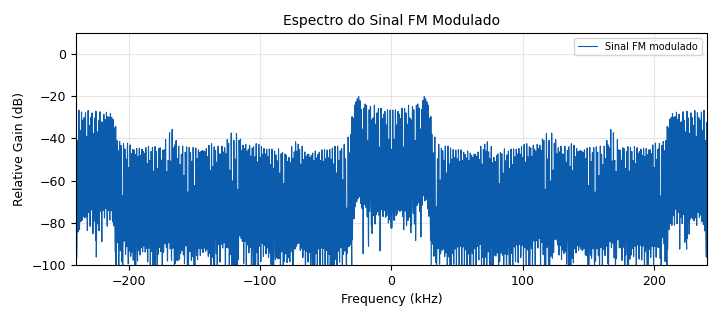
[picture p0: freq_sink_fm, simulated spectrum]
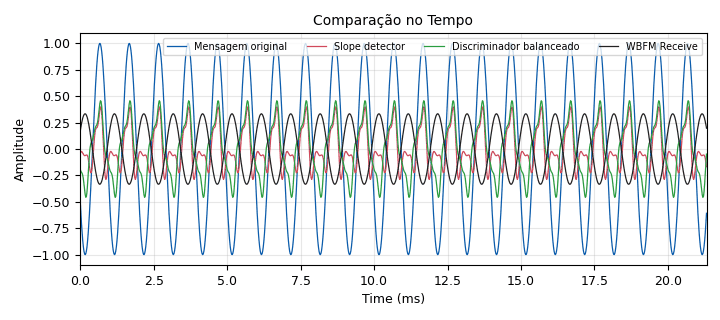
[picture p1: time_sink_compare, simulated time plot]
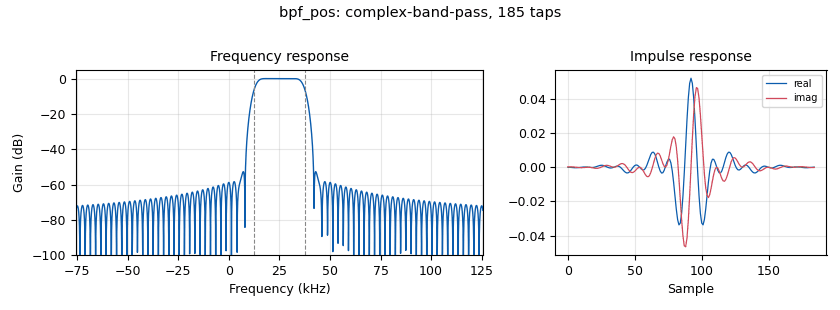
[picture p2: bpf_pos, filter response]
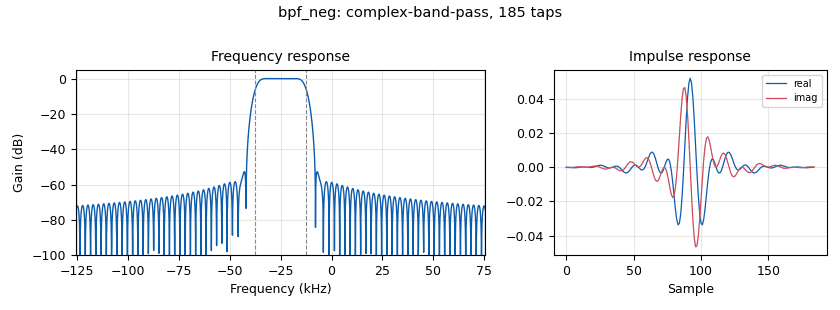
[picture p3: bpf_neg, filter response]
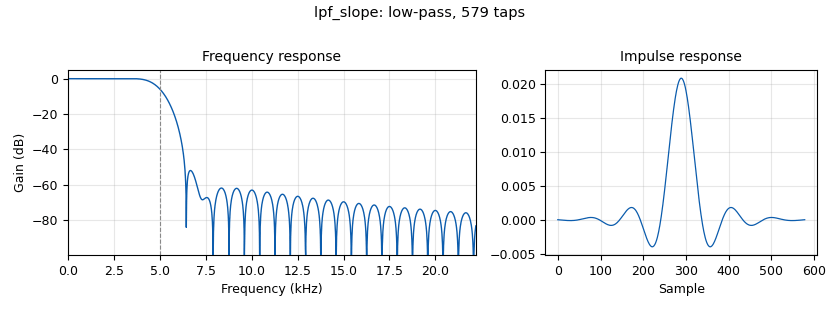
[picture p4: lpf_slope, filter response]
options:
  parameters:
    author: Prof. Daniel Costa Araújo
    description: Prática 05 - Parte II - Demodulação FM por Discriminação
    generate_options: qt_gui
    id: pratica_05_fm_parte2
    output_language: python
    title: Prática 05 - Parte II - Demodulação FM
  states: {}

blocks:
- name: samp_rate
  id: variable
  parameters:
    comment: Taxa de amostragem (quad_rate)
    value: '480000'
  states: {}
- name: audio_rate
  id: variable
  parameters:
    comment: Taxa de áudio
    value: '48000'
  states: {}
- name: fm_freq
  id: variable_qtgui_range
  parameters:
    comment: Frequência da mensagem
    gui_hint: 0,0,1,1
    label: Frequência mensagem fm (Hz)
    start: '200'
    step: '100'
    stop: '5000'
    value: '1000'
  states: {}
- name: max_dev
  id: variable_qtgui_range
  parameters:
    comment: Desvio máximo de frequência FM
    gui_hint: 0,1,1,1
    label: Desvio máximo (Hz)
    start: '5000'
    step: '1000'
    stop: '50000'
    value: '25000'
  states: {}
- name: noise_amp
  id: variable_qtgui_range
  parameters:
    comment: Amplitude do ruído
    gui_hint: 1,0,1,1
    label: Amplitude ruído
    start: '0'
    step: '0.01'
    stop: '0.5'
    value: '0'
  states: {}
- name: src_mensagem
  id: analog_sig_source_x
  parameters:
    amp: '1.0'
    comment: Sinal mensagem m(t)
    freq: fm_freq
    offset: '0'
    phase: '0'
    samp_rate: audio_rate
    type: float
    waveform: analog.GR_COS_WAVE
  states: {}
- name: src_noise
  id: analog_noise_source_x
  parameters:
    amp: noise_amp
    comment: Ruído gaussiano complexo
    noise_type: analog.GR_GAUSSIAN
    seed: '0'
    type: complex
  states: {}
- name: wbfm_tx
  id: analog_wfm_tx
  parameters:
    audio_rate: audio_rate
    comment: Modulador FM
    max_dev: max_dev
    quad_rate: samp_rate
    tau: '75e-6'
  states: {}
- name: throttle
  id: blocks_throttle2
  parameters:
    samples_per_second: samp_rate
    type: complex
  states: {}
- name: add_noise
  id: blocks_add_xx
  parameters:
    comment: Soma sinal FM + ruído
    type: complex
  states: {}
- name: wbfm_rx
  id: analog_wfm_rcv
  parameters:
    audio_decimation: int(samp_rate/audio_rate)
    comment: Demodulador de referência
    quad_rate: samp_rate
  states: {}
- name: bpf_pos
  id: band_pass_filter
  parameters:
    comment: Filtro passa-faixa em +Δf (slope)
    decim: '1'
    gain: '1'
    high_cutoff_freq: 3*max_dev/2
    low_cutoff_freq: max_dev/2
    samp_rate: samp_rate
    type: fir_filter_ccc
    width: max_dev/4
    win: window.WIN_HAMMING
  states: {}
- name: bpf_neg
  id: band_pass_filter
  parameters:
    comment: Filtro passa-faixa em -Δf (slope)
    decim: '1'
    gain: '1'
    high_cutoff_freq: '-max_dev/2'
    low_cutoff_freq: '-3*max_dev/2'
    samp_rate: samp_rate
    type: fir_filter_ccc
    width: max_dev/4
    win: window.WIN_HAMMING
  states: {}
- name: mag_pos
  id: blocks_complex_to_mag
  parameters:
    comment: Envoltória do ramo +Δf
  states: {}
- name: mag_neg
  id: blocks_complex_to_mag
  parameters:
    comment: Envoltória do ramo -Δf
  states: {}
- name: dc_blocker_slope
  id: dc_blocker_xx
  parameters:
    comment: Remove nível CC do slope
    length: '128'
    long_form: 'True'
    type: ff
  states: {}
- name: lpf_slope
  id: low_pass_filter
  parameters:
    comment: LPF de áudio + decimação
    cutoff_freq: '5000'
    decim: int(samp_rate/audio_rate)
    gain: '1'
    samp_rate: samp_rate
    type: fir_filter_fff
    width: '2000'
    win: window.WIN_HAMMING
  states: {}
- name: sub_balanced
  id: blocks_sub_xx
  parameters:
    comment: 'Subtração: mag_pos - mag_neg'
    type: float
  states: {}
- name: dc_blocker_bal
  id: dc_blocker_xx
  parameters:
    comment: Remove CC residual
    length: '128'
    long_form: 'True'
    type: ff
  states: {}
- name: lpf_bal
  id: low_pass_filter
  parameters:
    comment: LPF de áudio + decimação
    cutoff_freq: '5000'
    decim: int(samp_rate/audio_rate)
    gain: '1'
    samp_rate: samp_rate
    type: fir_filter_fff
    width: '2000'
    win: window.WIN_HAMMING
  states: {}
- name: freq_sink_fm
  id: qtgui_freq_sink_x
  parameters:
    bw: samp_rate
    fc: '0'
    fftsize: '4096'
    grid: 'True'
    gui_hint: 2,0,1,1
    label1: Sinal FM modulado
    name: '"Espectro do Sinal FM Modulado"'
    type: complex
    wintype: window.WIN_HANN
    ymin: '-100'
  states: {}
- name: time_sink_compare
  id: qtgui_time_sink_x
  parameters:
    autoscale: 'True'
    grid: 'True'
    gui_hint: 2,1,2,1
    label1: Mensagem original
    label2: Slope detector
    label3: Discriminador balanceado
    label4: WBFM Receive
    name: '"Comparação no Tempo"'
    nconnections: '4'
    size: '1024'
    srate: audio_rate
    type: float
    ymax: '1.5'
    ymin: '-1.5'
  states: {}

connections:
- [src_mensagem, '0', wbfm_tx, '0']
- [wbfm_tx, '0', throttle, '0']
- [throttle, '0', add_noise, '0']
- [src_noise, '0', add_noise, '1']
- [add_noise, '0', freq_sink_fm, '0']
- [add_noise, '0', wbfm_rx, '0']
- [add_noise, '0', bpf_pos, '0']
- [add_noise, '0', bpf_neg, '0']
- [bpf_pos, '0', mag_pos, '0']
- [bpf_neg, '0', mag_neg, '0']
- [mag_pos, '0', dc_blocker_slope, '0']
- [dc_blocker_slope, '0', lpf_slope, '0']
- [mag_pos, '0', sub_balanced, '0']
- [mag_neg, '0', sub_balanced, '1']
- [sub_balanced, '0', dc_blocker_bal, '0']
- [dc_blocker_bal, '0', lpf_bal, '0']
- [src_mensagem, '0', time_sink_compare, '0']
- [lpf_slope, '0', time_sink_compare, '1']
- [lpf_bal, '0', time_sink_compare, '2']
- [wbfm_rx, '0', time_sink_compare, '3']

metadata:
  file_format: 1
  grc_version: 3.10.12.0
